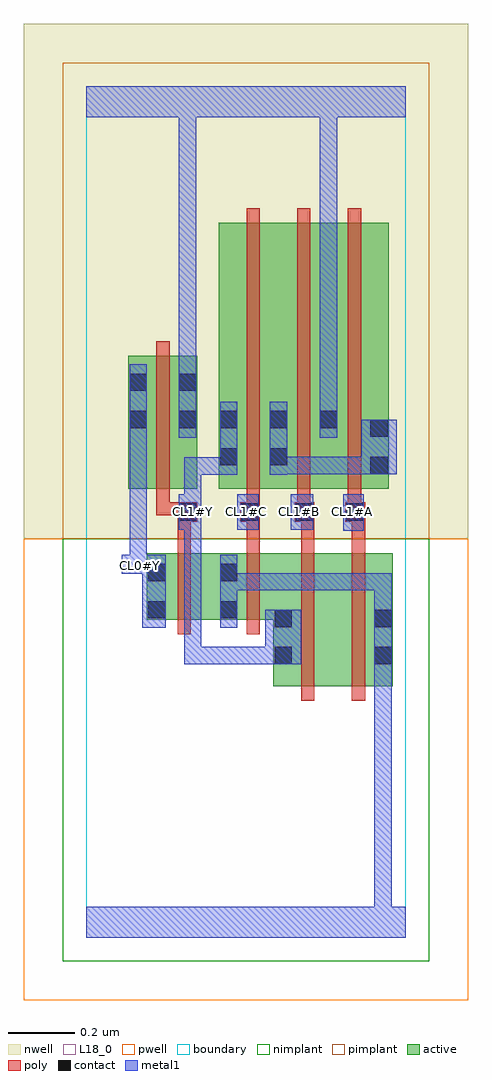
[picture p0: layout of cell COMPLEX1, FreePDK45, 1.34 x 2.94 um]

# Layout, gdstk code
import gdstk
lib = gdstk.Library(unit=1e-6, precision=1e-09)
def R(c, l, rs):  # rectangles x0, y0, x1, y1
    for r in rs: c.add(gdstk.rectangle(r[:2], r[2:], *l))
def A(c, l, x, y, w, h, nx, ny, dx, dy):  # array of equal rectangles
    R(c, l, [(x+i*dx, y+j*dy, x+i*dx+w, y+j*dy+h) for i in range(nx) for j in range(ny)])
active = (1, 0)
pwell = (2, 0)
nwell = (3, 0)
nimplant = (4, 0)
pimplant = (5, 0)
poly = (9, 0)
contact = (10, 0)
metal1 = (11, 0)
L18_0 = (18, 0)
boundary = (235, 0)

complex1 = lib.new_cell('COMPLEX1')
A(complex1, active, 0.398, 1.35, 0.06, 0.694, 3, 1, 0.15, 0)
R(complex1, active, [(0.562,0.756,0.622,1.156), (0.562,0.756,0.742,1.156), (0.742,0.756,0.922,1.156), (0.862,0.756,0.922,1.156), (0.182,0.956,0.242,1.156), (0.182,0.956,0.458,1.156), (0.398,0.956,0.622,1.156), (0.398,0.956,0.458,1.156), (0.126,1.35,0.186,1.75), (0.126,1.35,0.334,1.75), (0.274,1.35,0.334,1.75), (0.398,1.35,0.608,2.15), (0.548,1.35,0.758,2.15), (0.698,1.35,0.91,2.15), (0.85,1.35,0.91,2.044)])
R(complex1, pwell, [(-0.188,-0.188,1.148,1.2)])
R(complex1, nwell, [(-0.188,1.2,1.148,2.748)])
R(complex1, nimplant, [(-0.072,-0.072,1.032,1.2)])
R(complex1, pimplant, [(-0.072,1.2,1.032,2.632)])
A(complex1, poly, 0.482, 1.27, 0.04, 0.076, 3, 1, 0.152, 0)
A(complex1, poly, 0.482, 1.306, 0.04, 0.888, 3, 1, 0.152, 0)
R(complex1, poly, [(0.646,0.712,0.686,1.2), (0.798,0.712,0.838,1.2), (0.274,0.912,0.314,1.2), (0.482,0.912,0.522,1.2), (0.274,1.16,0.314,1.29), (0.482,1.16,0.522,1.29), (0.646,1.16,0.686,1.29), (0.798,1.16,0.838,1.29), (0.274,1.25,0.334,1.31), (0.462,1.25,0.522,1.31), (0.482,1.25,0.522,1.29), (0.482,1.25,0.522,1.29), (0.626,1.25,0.686,1.31), (0.646,1.25,0.686,1.29), (0.646,1.25,0.686,1.29), (0.778,1.25,0.838,1.31), (0.798,1.25,0.838,1.29), (0.798,1.25,0.838,1.29), (0.21,1.27,0.25,1.346), (0.21,1.27,0.314,1.31), (0.274,1.27,0.314,1.31), (0.21,1.306,0.25,1.794)])
A(complex1, contact, 0.402, 1.532, 0.052, 0.052, 3, 1, 0.15, 0)
R(complex1, contact, [(0.566,0.822,0.618,0.874), (0.866,0.822,0.918,0.874), (0.566,0.934,0.618,0.986), (0.866,0.934,0.918,0.986), (0.186,0.96,0.238,1.012), (0.402,0.96,0.454,1.012), (0.186,1.072,0.238,1.124), (0.402,1.072,0.454,1.124), (0.278,1.254,0.33,1.306), (0.466,1.254,0.518,1.306), (0.63,1.254,0.682,1.306), (0.782,1.254,0.834,1.306), (0.854,1.394,0.906,1.446), (0.402,1.42,0.454,1.472), (0.552,1.42,0.604,1.472), (0.854,1.506,0.906,1.558), (0.13,1.532,0.182,1.584), (0.278,1.532,0.33,1.584), (0.13,1.644,0.182,1.696), (0.278,1.644,0.33,1.696)])
R(complex1, metal1, [(0,0,0.96,0.092), (0.866,0.04,0.918,0.092), (0.866,0.04,0.918,0.092), (0.866,0.04,0.918,0.092), (0.866,0.04,0.918,0.092), (0.866,0.04,0.918,0.092), (0.866,0.04,0.918,0.092), (0.866,0.04,0.918,0.092), (0.866,0.04,0.918,0.092), (0.866,0.04,0.918,0.092), (0.866,0.04,0.918,0.092), (0.866,0.04,0.918,0.092), (0.866,0.04,0.918,0.092), (0.866,0.04,0.918,0.846), (0.866,0.794,0.918,1.014), (0.294,0.822,0.346,0.874), (0.294,0.822,0.346,0.874), (0.294,0.822,0.346,0.874), (0.294,0.822,0.48,0.874), (0.294,0.822,0.346,1.334), (0.428,0.822,0.48,0.874), (0.428,0.822,0.48,0.874), (0.428,0.822,0.48,0.874), (0.428,0.822,0.59,0.874), (0.538,0.822,0.646,0.986), (0.168,0.932,0.238,1.152), (0.402,0.932,0.454,1.152), (0.866,0.962,0.918,1.014), (0.866,0.962,0.918,1.014), (0.866,0.962,0.918,1.096), (0.402,1.044,0.556,1.096), (0.504,1.044,0.556,1.096), (0.504,1.044,0.604,1.096), (0.552,1.044,0.604,1.096), (0.552,1.044,0.714,1.096), (0.662,1.044,0.714,1.096), (0.662,1.044,0.714,1.096), (0.662,1.044,0.714,1.096), (0.662,1.044,0.918,1.096), (0.866,1.044,0.918,1.096), (0.866,1.044,0.918,1.096), (0.866,1.044,0.918,1.096), (0.866,1.044,0.918,1.096), (0.866,1.044,0.918,1.096), (0.106,1.094,0.22,1.152), (0.13,1.1,0.182,1.556), (0.168,1.1,0.22,1.152), (0.772,1.224,0.834,1.334), (0.278,1.226,0.346,1.334), (0.454,1.226,0.518,1.334), (0.614,1.226,0.682,1.334), (0.294,1.282,0.346,1.334), (0.294,1.282,0.346,1.334), (0.294,1.282,0.346,1.444), (0.294,1.392,0.346,1.444), (0.294,1.392,0.346,1.444), (0.294,1.392,0.346,1.444), (0.294,1.392,0.454,1.444), (0.402,1.392,0.454,1.612), (0.552,1.392,0.604,1.612), (0.552,1.394,0.714,1.446), (0.662,1.394,0.714,1.446), (0.662,1.394,0.714,1.446), (0.662,1.394,0.714,1.446), (0.662,1.394,0.878,1.446), (0.826,1.394,0.878,1.446), (0.826,1.394,0.878,1.446), (0.826,1.394,0.934,1.558), (0.13,1.504,0.182,1.556), (0.13,1.504,0.182,1.556), (0.13,1.504,0.182,1.724), (0.278,1.504,0.33,1.724), (0.702,1.504,0.754,1.612), (0.702,1.56,0.754,1.612), (0.702,1.56,0.754,1.612), (0.702,1.56,0.754,1.612), (0.702,1.56,0.754,1.612), (0.702,1.56,0.754,1.612), (0.702,1.56,0.754,1.612), (0.702,1.56,0.754,2.52), (0.278,1.672,0.33,1.724), (0.278,1.672,0.33,1.724), (0.278,1.672,0.33,1.724), (0.278,1.672,0.33,1.724), (0.278,1.672,0.33,1.724), (0.278,1.672,0.33,1.724), (0.278,1.672,0.33,1.724), (0.278,1.672,0.33,1.724), (0.278,1.672,0.33,1.724), (0.278,1.672,0.33,1.724), (0.278,1.672,0.33,2.52), (0,2.468,0.96,2.56), (0.278,2.468,0.33,2.52), (0.278,2.468,0.33,2.52), (0.278,2.468,0.33,2.52), (0.278,2.468,0.33,2.52), (0.278,2.468,0.33,2.52), (0.278,2.468,0.33,2.52), (0.702,2.468,0.754,2.52), (0.702,2.468,0.754,2.52)])
A(complex1, L18_0, 0.294, 1.254, 0.052, 0.052, 4, 1, 0.16, 0)
R(complex1, L18_0, [(0,0,0.96,0.092), (0.866,0.04,0.918,0.092), (0.866,0.04,0.918,0.092), (0.866,0.04,0.918,0.092), (0.866,0.04,0.918,0.092), (0.866,0.04,0.918,0.092), (0.866,0.04,0.918,0.092), (0.866,0.04,0.918,0.092), (0.866,0.04,0.918,0.092), (0.866,0.04,0.918,0.092), (0.866,0.04,0.918,0.092), (0.866,0.04,0.918,0.092), (0.866,0.04,0.918,0.092), (0.866,0.04,0.918,0.846), (0.866,0.794,0.918,1.014), (0.294,0.822,0.346,0.874), (0.294,0.822,0.346,0.874), (0.294,0.822,0.346,0.874), (0.294,0.822,0.346,1.334), (0.294,0.822,0.48,0.874), (0.428,0.822,0.48,0.874), (0.428,0.822,0.48,0.874), (0.428,0.822,0.48,0.874), (0.428,0.822,0.59,0.874), (0.538,0.822,0.646,0.986), (0.168,0.932,0.238,1.152), (0.402,0.932,0.454,1.152), (0.866,0.962,0.918,1.014), (0.866,0.962,0.918,1.014), (0.866,0.962,0.918,1.096), (0.402,1.044,0.556,1.096), (0.504,1.044,0.556,1.096), (0.504,1.044,0.604,1.096), (0.552,1.044,0.604,1.096), (0.552,1.044,0.714,1.096), (0.662,1.044,0.714,1.096), (0.662,1.044,0.714,1.096), (0.662,1.044,0.714,1.096), (0.662,1.044,0.918,1.096), (0.866,1.044,0.918,1.096), (0.866,1.044,0.918,1.096), (0.866,1.044,0.918,1.096), (0.866,1.044,0.918,1.096), (0.866,1.044,0.918,1.096), (0.106,1.094,0.22,1.152), (0.134,1.094,0.186,1.146), (0.13,1.1,0.182,1.556), (0.168,1.1,0.22,1.152), (0.772,1.224,0.834,1.334), (0.278,1.226,0.346,1.334), (0.454,1.226,0.518,1.334), (0.614,1.226,0.682,1.334), (0.294,1.282,0.346,1.334), (0.294,1.282,0.346,1.334), (0.294,1.282,0.346,1.444), (0.294,1.392,0.346,1.444), (0.294,1.392,0.346,1.444), (0.294,1.392,0.346,1.444), (0.294,1.392,0.454,1.444), (0.402,1.392,0.454,1.612), (0.13,1.504,0.182,1.556), (0.13,1.504,0.182,1.556), (0.13,1.504,0.182,1.724), (0.278,1.504,0.33,1.724), (0.702,1.504,0.754,1.612), (0.702,1.56,0.754,1.612), (0.702,1.56,0.754,1.612), (0.702,1.56,0.754,1.612), (0.702,1.56,0.754,1.612), (0.702,1.56,0.754,1.612), (0.702,1.56,0.754,1.612), (0.702,1.56,0.754,2.52), (0.278,1.672,0.33,1.724), (0.278,1.672,0.33,1.724), (0.278,1.672,0.33,1.724), (0.278,1.672,0.33,1.724), (0.278,1.672,0.33,1.724), (0.278,1.672,0.33,1.724), (0.278,1.672,0.33,1.724), (0.278,1.672,0.33,1.724), (0.278,1.672,0.33,1.724), (0.278,1.672,0.33,1.724), (0.278,1.672,0.33,2.52), (0,2.468,0.96,2.56), (0.278,2.468,0.33,2.52), (0.278,2.468,0.33,2.52), (0.278,2.468,0.33,2.52), (0.278,2.468,0.33,2.52), (0.278,2.468,0.33,2.52), (0.278,2.468,0.33,2.52), (0.702,2.468,0.754,2.52), (0.702,2.468,0.754,2.52)])
R(complex1, boundary, [(0,0,0.96,2.56)])
complex1.add(gdstk.Label('CL0#Y', (0.16,1.12), layer=11, texttype=0))
complex1.add(gdstk.Label('CL1#A', (0.8,1.28), layer=11, texttype=0))
complex1.add(gdstk.Label('CL1#B', (0.64,1.28), layer=11, texttype=0))
complex1.add(gdstk.Label('CL1#C', (0.48,1.28), layer=11, texttype=0))
complex1.add(gdstk.Label('CL1#Y', (0.32,1.28), layer=11, texttype=0))

lib.write_gds('COMPLEX1.gds')
